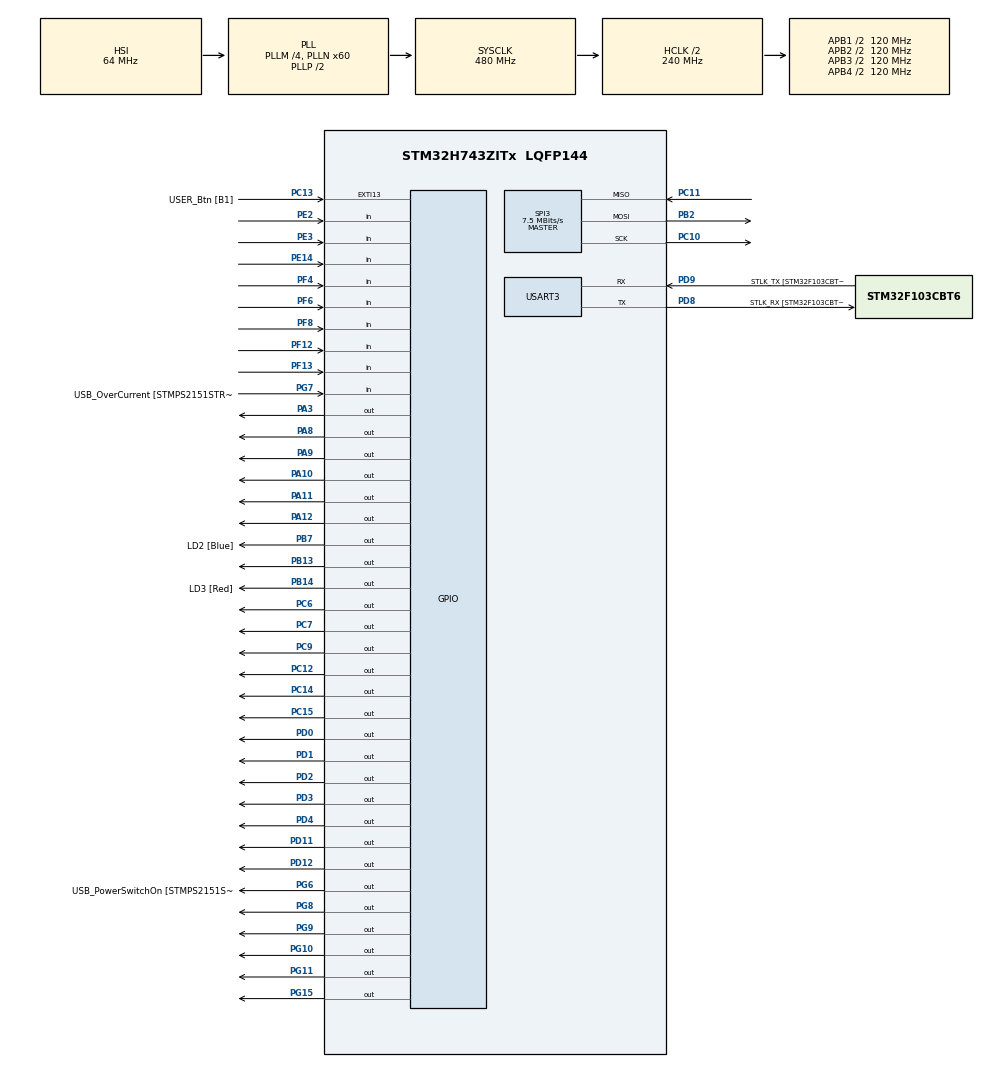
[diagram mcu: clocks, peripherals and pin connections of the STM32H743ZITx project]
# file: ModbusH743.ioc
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FATFS._USE_LFN=3
FREERTOS.Tasks01=defaultTask,24,128,StartDefaultTask,Default,NULL,Dynamic,NULL,NULL;SD_Card_Task,32,128,Start_SDcard_Task,Default,NULL,Dynamic,NULL,NULL;Teach_Motor_Tas,26,128,Start_Teach_Motor,Default,NULL,Dynamic,NULL,NULL;Call_Run_Task,25,128,Call_Run,Default,NULL,Dynamic,NULL,NULL
FREERTOS.configTICK_RATE_HZ=1000
FREERTOS.configUSE_NEWLIB_REENTRANT=1
Mcu.Family=STM32H7
Mcu.Name=STM32H743ZITx
Mcu.Package=LQFP144
NVIC.PriorityGroup=NVIC_PRIORITYGROUP_4
NVIC.TIM15_IRQn=true\:0\:0\:false\:false\:true\:false\:true\:true
NVIC.TIM16_IRQn=true\:0\:0\:false\:false\:true\:false\:true\:true
NVIC.TIM17_IRQn=true\:0\:0\:false\:false\:true\:false\:false\:true
NVIC.TIM4_IRQn=true\:0\:0\:false\:false\:true\:false\:true\:true
NVIC.TIM5_IRQn=true\:0\:0\:false\:false\:true\:false\:true\:true
NVIC.TIM8_TRG_COM_TIM14_IRQn=true\:0\:0\:false\:false\:true\:false\:true\:true
NVIC.TimeBase=TIM17_IRQn
NVIC.TimeBaseIP=TIM17
NVIC.USART3_IRQn=true\:5\:0\:true\:false\:true\:false\:true\:true
PA10.Signal=GPIO_Output
PA11.Signal=GPIO_Output
PA12.Signal=GPIO_Output
PA13\ (JTMS/SWDIO).Mode=Serial_Wire
PA13\ (JTMS/SWDIO).Signal=DEBUG_JTMS-SWDIO
PA14\ (JTCK/SWCLK).Mode=Serial_Wire
PA14\ (JTCK/SWCLK).Signal=DEBUG_JTCK-SWCLK
PA3.GPIO_PuPd=GPIO_PULLUP
PA3.PinState=GPIO_PIN_SET
PA3.Signal=GPIO_Output
PA8.Signal=GPIO_Output
PA9.Signal=GPIO_Output
PB13.Signal=GPIO_Output
PB14.GPIO_Label=LD3 [Red]
PB14.Signal=GPIO_Output
PB2.Mode=Full_Duplex_Master
PB2.Signal=SPI3_MOSI
PB7.GPIO_Label=LD2 [Blue]
PB7.Signal=GPIO_Output
PC10.Mode=Full_Duplex_Master
PC10.Signal=SPI3_SCK
PC11.Mode=Full_Duplex_Master
PC11.Signal=SPI3_MISO
PC12.Signal=GPIO_Output
PC13.GPIO_Label=USER_Btn [B1]
PC13.Signal=GPXTI13
PC14-OSC32_IN\ (OSC32_IN).GPIO_PuPd=GPIO_PULLUP
PC14-OSC32_IN\ (OSC32_IN).PinState=GPIO_PIN_SET
PC14-OSC32_IN\ (OSC32_IN).Signal=GPIO_Output
PC15-OSC32_OUT\ (OSC32_OUT).GPIO_PuPd=GPIO_PULLUP
PC15-OSC32_OUT\ (OSC32_OUT).PinState=GPIO_PIN_SET
PC15-OSC32_OUT\ (OSC32_OUT).Signal=GPIO_Output
PC6.Signal=GPIO_Output
PC7.Signal=GPIO_Output
PC9.Signal=GPIO_Output
PD0.Signal=GPIO_Output
PD1.Signal=GPIO_Output
PD11.GPIO_PuPd=GPIO_PULLUP
PD11.PinState=GPIO_PIN_RESET
PD11.Signal=GPIO_Output
PD12.GPIO_PuPd=GPIO_PULLUP
PD12.PinState=GPIO_PIN_RESET
PD12.Signal=GPIO_Output
PD2.Signal=GPIO_Output
PD3.Signal=GPIO_Output
PD4.Signal=GPIO_Output
PD8.GPIO_Label=STLK_RX [STM32F103CBT6_PA3]
PD8.Mode=Asynchronous
PD8.Signal=USART3_TX
PD9.GPIO_Label=STLK_TX [STM32F103CBT6_PA2]
PD9.Mode=Asynchronous
PD9.Signal=USART3_RX
PE14.Signal=GPIO_Input
PE2.GPIO_PuPd=GPIO_PULLUP
PE2.Signal=GPIO_Input
PE3.GPIO_PuPd=GPIO_PULLUP
PE3.Signal=GPIO_Input
PF12.Signal=GPIO_Input
PF13.Signal=GPIO_Input
PF4.Signal=GPIO_Input
PF6.Signal=GPIO_Input
PF8.Signal=GPIO_Input
PG10.Signal=GPIO_Output
PG11.Signal=GPIO_Output
PG15.Signal=GPIO_Output
PG6.GPIO_Label=USB_PowerSwitchOn [STMPS2151STR_EN]
PG6.Signal=GPIO_Output
PG7.GPIO_Label=USB_OverCurrent [STMPS2151STR_FAULT]
PG7.Signal=GPIO_Input
PG8.Signal=GPIO_Output
PG9.Signal=GPIO_Output
PH0-OSC_IN\ (PH0).GPIO_Label=MCO
PH0-OSC_IN\ (PH0).Signal=RCC_OSC_IN
PH1-OSC_OUT\ (PH1).Signal=RCC_OSC_OUT
ProjectManager.HeapSize=0x200
ProjectManager.StackSize=0x400
ProjectManager.TargetToolchain=STM32CubeIDE
RCC.48MHZClocksFreq_Value=24000000
RCC.ADCFreq_Value=129000000
RCC.AHBFreq_Value=216000000
RCC.APB1CLKDivider=RCC_HCLK_DIV4
RCC.APB1Freq_Value=120000000
RCC.APB1TimFreq_Value=108000000
RCC.APB2CLKDivider=RCC_HCLK_DIV2
RCC.APB2Freq_Value=120000000
RCC.APB2TimFreq_Value=216000000
RCC.APB3Freq_Value=120000000
RCC.APB4Freq_Value=120000000
RCC.CortexFreq_Value=480000000
RCC.D1PPRE=RCC_APB3_DIV2
RCC.D2PPRE1=RCC_APB1_DIV2
RCC.D2PPRE2=RCC_APB2_DIV2
RCC.D3PPRE=RCC_APB4_DIV2
RCC.DIVM1=4
RCC.DIVN1=60
RCC.HCLKFreq_Value=240000000
RCC.HPRE=RCC_HCLK_DIV2
RCC.HSE_VALUE=8000000
RCC.HSI_VALUE=64000000
RCC.PLL1_VCO_SEL-AdvancedSettings=RCC_PLL1VCOWIDE
RCC.PLL2FRACN=0
RCC.PLL3FRACN=0
RCC.PLLFRACN=0
RCC.PLLM=25
RCC.PLLMUL=RCC_PLL_MUL9
RCC.PLLN=432
RCC.PLLQ=9
RCC.PRESCALERUSB=RCC_USBCLKSOURCE_PLL_DIV1_5
RCC.PWR_Regulator_Voltage_Scale=PWR_REGULATOR_VOLTAGE_SCALE0
RCC.SYSCLKFreq_VALUE=480000000
RCC.SYSCLKSource=RCC_SYSCLKSOURCE_PLLCLK
RCC.SYSCLKSourceVirtual=RCC_SYSCLKSOURCE_PLLCLK
RCC.USBCLockSelection=RCC_USBCLKSOURCE_HSI48
RCC.USBFreq_Value=48000000
RCC.VCOOutputFreq_Value=432000000
SPI3.BaudRatePrescaler=SPI_BAUDRATEPRESCALER_64
SPI3.CalculateBaudRate=7.5 MBits/s
SPI3.DataSize=SPI_DATASIZE_8BIT
SPI3.Direction=SPI_DIRECTION_2LINES
SPI3.Mode=SPI_MODE_MASTER
SPI3.VirtualType=VM_MASTER
TIM14.Period=999
TIM14.Prescaler=239
TIM15.Period=999
TIM15.Prescaler=119
TIM16.Period=999
TIM16.Prescaler=23
TIM4.Period=9999
TIM4.Prescaler=239
TIM5.Period=9999
TIM5.Prescaler=239
USART3.VirtualMode-Asynchronous=VM_ASYNC
VP_FATFS_VS_Generic.Mode=User_defined
VP_FREERTOS_VS_CMSIS_V2.Mode=CMSIS_V2
VP_SYS_VS_tim17.Mode=TIM17
VP_TIM14_VS_ClockSourceINT.Mode=Enable_Timer
VP_TIM15_VS_ClockSourceINT.Mode=Internal
VP_TIM16_VS_ClockSourceINT.Mode=Enable_Timer
VP_TIM4_VS_ClockSourceINT.Mode=Internal
VP_TIM5_VS_ClockSourceINT.Mode=Internal
board=NUCLEO-H743ZI

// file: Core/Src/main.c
/* USER CODE BEGIN Header */
/**
  ******************************************************************************
  * @file           : main.c
  * @brief          : Main program body
  ******************************************************************************
  * @attention
  *
  * <h2><center>&copy; Copyright (c) 2020 STMicroelectronics.
  * All rights reserved.</center></h2>
  *
  * This software component is licensed by ST under BSD 3-Clause license,
  * the "License"; You may not use this file except in compliance with the
  * License. You may obtain a copy of the License at:
  *                        opensource.org/licenses/BSD-3-Clause
  *
  ******************************************************************************
  */
/* USER CODE END Header */
#include "main.h"
#include "cmsis_os.h"
#include "fatfs.h"
#include "spi.h"
#include "tim.h"
#include "usart.h"
#include "gpio.h"

/* USER CODE BEGIN Includes */
#include "fatfs_sd.h"
#include "string.h"
#include "stdio.h"
#include "stdlib.h"
#include "Modbus.h"
#include "Control_Step_Motor.h"
#include "Define.h"
#include "sub_Funct.h"
/* USER CODE END Includes */

/* USER CODE BEGIN PV */

modbusHandler_t ModbusH;
//uint16_t ModbusDATA[8];
uint16_t ModbusDATA[256];

uint32_t count = 0;
uint8_t test_step = 0;
uint8_t Bit_data0 = 0;
uint8_t Bit_data1 = 0;
uint8_t Bit_data2 = 0;
uint8_t Bit_data3 = 0;
uint8_t Bit_data4 = 0;
uint8_t Bit_data5 = 0;
uint8_t Bit_data6 = 0;
uint8_t Bit_data7 = 0;
uint8_t Bit_data8 = 0;
uint8_t Bit_data9 = 0;
uint8_t Bit_data10 = 0;
uint8_t Bit_data11 = 0;
uint8_t Bit_data12 = 0;
uint8_t Bit_data13 = 0;
uint8_t Bit_data14 = 0;
uint8_t Bit_data15 = 0;
uint8_t Bit_data16 = 0;
uint8_t Bit_data17 = 0;
uint8_t Bit_data18 = 0;
uint8_t Bit_data19 = 0;
uint8_t Bit_data20 = 0;
uint8_t Bit_data21 = 0;
uint8_t Bit_data22 = 0;
uint8_t Bit_data23 = 0;
uint8_t BT_Start_Stage = 0;
//uint32_t milisec = 0;
uint32_t bien_Count = 0;

/*------ Teaching by jog funct variable ------*/

/* USER CODE END PV */

void SystemClock_Config(void);
void MX_FREERTOS_Init(void);
/* USER CODE BEGIN PFP */
void StartDefaultTask(void *argument)
{
  /* USER CODE BEGIN StartDefaultTask */
  /* Infinite loop */
  for(;;)
  {
	  mHandlers[0]->u8Buffer[3] = HAL_GPIO_ReadPin(GPIOF, GPIO_PIN_12);
	  Bit_data0 = mHandlers[0]->xBufferRX.uxBuffer[0];
	  Bit_data1 = mHandlers[0]->xBufferRX.uxBuffer[1];
	  Bit_data2 = mHandlers[0]->xBufferRX.uxBuffer[2];
	  Bit_data3 = mHandlers[0]->xBufferRX.uxBuffer[3];
	  Bit_data4 = mHandlers[0]->xBufferRX.uxBuffer[4];
	  Bit_data5 = mHandlers[0]->xBufferRX.uxBuffer[5];
	  Bit_data6 = mHandlers[0]->xBufferRX.uxBuffer[6];
	  Bit_data7 = mHandlers[0]->xBufferRX.uxBuffer[7];

	  Bit_data8 = mHandlers[0]->xBufferRX.uxBuffer[8];
	  Bit_data9 = mHandlers[0]->xBufferRX.uxBuffer[9];
	  Bit_data10 = mHandlers[0]->xBufferRX.uxBuffer[10];
	  Bit_data11 = mHandlers[0]->xBufferRX.uxBuffer[11];
	  Bit_data12 = mHandlers[0]->xBufferRX.uxBuffer[12];
	  Bit_data13 = mHandlers[0]->xBufferRX.uxBuffer[13];
	  Bit_data14 = mHandlers[0]->xBufferRX.uxBuffer[14];
	  Bit_data15 = mHandlers[0]->xBufferRX.uxBuffer[15];

	  Bit_data16 = mHandlers[0]->xBufferRX.uxBuffer[16];
	  Bit_data17 = mHandlers[0]->xBufferRX.uxBuffer[17];
	  Bit_data18 = mHandlers[0]->xBufferRX.uxBuffer[18];
	  Bit_data19 = mHandlers[0]->xBufferRX.uxBuffer[19];
	  Bit_data20 = mHandlers[0]->xBufferRX.uxBuffer[20];
	  Bit_data21 = mHandlers[0]->xBufferRX.uxBuffer[21];
	  Bit_data22 = mHandlers[0]->xBufferRX.uxBuffer[22];
	  Bit_data23 = mHandlers[0]->xBufferRX.uxBuffer[23];
	  bien_Count++;

/*	  if(Main_process == 1)
	  {
		  fresult = f_mount(&fs,"",1);
		  fresult = f_open(&myfile,"DUC.txt",FA_CREATE_ALWAYS|FA_WRITE);
		  f_printf(&myfile,SD_Coordinates);
		  f_close(&myfile);
		  f_sync(&myfile);
		  Main_process = 0;
	  }*/
      osDelay(1);
  }
  /* USER CODE END StartDefaultTask */
}
void Start_SDcard_Task(void *argument)
{
  /* USER CODE BEGIN StartTask02 */
  /* Infinite loop */
  for(;;)
  {
/*	  count++;
	  if(count == 10000)
	  {
		  fresult = f_mount(&fs,"",1);											// Ket noi voi the nho
		  fresult = f_open(&myfile,"RTOSTUOILOZ.txt",FA_CREATE_ALWAYS|FA_WRITE); // Mo file
		  f_printf(&myfile,"dmchanvl");
		  f_close(&myfile);														// Dong the nho
		  f_sync(&myfile);
	  }*/
	  switch(Main_process)
	  {
		  case 1:
		  {
			  if(Pos_Index == 0)
			  {
				  fresult = f_mount(&fs,"",1);
				  fresult = f_open(&myfile,"No1.txt",FA_CREATE_ALWAYS|FA_WRITE);
				  f_printf(&myfile,SD_Coordinates);
				  f_close(&myfile);
				  f_sync(&myfile);
				  Main_process = 0;
				  Teach_Point_Count++;
			  }
			  else if(Pos_Index >= 1)
			  {
				  fresult = f_mount(&fs,"",1);
				  fresult = f_open(&myfile,"No1.txt",FA_CREATE_ALWAYS|FA_WRITE);
				  Main_Coor_count = Main_Coor_count + Temp_Coor_count;
				  fresult = f_lseek(&myfile,Main_Coor_count);
				  f_printf(&myfile,SD_Coordinates);
				  f_close(&myfile);
				  f_sync(&myfile);
				  Main_process = 0;
				  Teach_Point_Count++;
			  }
			  for(uint8_t i = 0;i<150;i++)
			  {
				  if(SD_Coordinates[i] == 0x00)
				  {
					  Temp_Coor_count = i;
					  break;
				  }
			  }
			  for(uint8_t i = 0;i<150;i++)
			  {
				  SD_Coordinates[i] = 0;
			  }
			 break;
		  }
		  case 2:
		  {
			  switch(Run_File_No)
			  {
				  case 1:
				  {
					  fresult = f_mount(&fs,"",1);
					  fresult = f_open(&myfile,"No1.txt",FA_READ);
					  fresult = f_read(&myfile,SD_All_Point,f_size(&myfile),(UINT*)&br);
					  f_close(&myfile);
					  f_sync(&myfile);
					  Main_process = 0xFF;
					  break;
				  }
				  case 2:
				  {
					  fresult = f_mount(&fs,"",1);
					  fresult = f_open(&myfile,"No2.txt",FA_READ);
					  fresult = f_read(&myfile,SD_All_Point,f_size(&myfile),(UINT*)&br);
					  f_close(&myfile);
					  f_sync(&myfile);
					  Main_process = 0xFF;
					  break;
				  }
			  }
			  break;
		  }
	  }
    osDelay(1);
  }
  /* USER CODE END StartTask02 */
}
void Start_Teach_Motor(void *argument)
{
  /* USER CODE BEGIN StartTask03 */
  /* Infinite loop */
  for(;;)
  {
	  switch(Teach_Move_Process)
	  {
	  	  case 1:
	  	  {
			  if(Busy_Flag_XYZ == 0 && Origin_Flag == 0 )
			  {
				  Move_XYZ_ABC(Teach_X_Axis_Value/2, Teach_Y_Axis_Value/2,Teach_Z_Axis_Value/2,Teach_A_Axis_Value/2,Teach_B_Axis_Value/2,Teach_C_Axis_Value/2,Teach_Velocity_Value,5);
				  Teach_Move_Process = 2;
			  }
	  		  break;
	  	  }
	  	  case 2:
	  	  {
	  		  if(Busy_Flag_XYZ == 0)
	  		  {
				  Teach_Move_Process = 0xFF;
	  		  }
	  		  break;
	  	  }
	  	  case 3:
	  	  {
	  		  if(Busy_Flag_XYZ == 0)
	  		  {
				  Origin_Motor();
				  Teach_Move_Process = 4;
	  		  }
	  		  break;
	  	  }
	  	  case 4:
	  	  {
	  		  if(Origin_Flag == 0)
	  		  {
	  			  reset_Value();
	  		  }
	  		  break;
	  	  }
	  	  default:
	  	  {
	  		  break;
	  	  }
	  }
    osDelay(1);
  }
  /* USER CODE END StartTask03 */
}

void Call_Run(void *argument)
{
  /* USER CODE BEGIN Call_Run */
  /* Infinite loop */
  for(;;)
  {
	  switch(run_Process)
	  {
		  case 1:
		  {
			  count_Total_Point();
			  run_Process = 2;
			  break;
		  }
		  case 2:
		  {
			  sd_Data_Handle();
			  output_Display();
			  run_Process = 3;
			  break;
		  }
		  case 3:
		  {
			  if(Busy_Flag_XYZ == 0 && Origin_Flag == 0 )
			  {
				  Move_XYZ_ABC(run_PosX/2, run_PosY/2,run_PosZ/2,run_PosA/2,run_PosB/2,run_PosC/2,run_Speed,5);
				  run_Process = 4;
			  }
			  break;
		  }
		  case 4:
		  {
	  		  if(Busy_Flag_XYZ == 0)
	  		  {
	  			temp_ID = 0;
	  			temp_Speed = 0;
				temp_PosX = 0;
				temp_PosY = 0;
				temp_PosZ = 0;
				temp_PosA = 0;
				temp_PosB = 0;
				temp_PosC = 0;
				run_ID = 0;
				run_Speed = 0;
				run_PosX = 0;
				run_PosY = 0;
				run_PosZ = 0;
				run_PosA = 0;
				run_PosB = 0;
				run_PosC = 0;
				for(uint8_t i = 0;i<20;i++)
				{
					data_ID[i] = 0x00;
					data_Speed[i] = 0x00;
					data_PosX[i]   = 0x00;
					data_PosY[i]   = 0x00;
					data_PosZ[i]   = 0x00;
					data_PosA[i]   = 0x00;
					data_PosB[i]   = 0x00;
					data_PosC[i]   = 0x00;
				}
				for(uint8_t i=0;i<50;i++)
				{
					data_Output[i] = 0x00;
				}
				for(uint8_t i =0;i<200;i++)
				{
					move_Data_Buffer[i] = 0x00;
				}
	  			run_Point_Count++;
	  			run_Process = 5;
	  			current_Millis = milisec;
	  			if(run_Point_Count >= run_Pos_Index)
	  			{
		  			run_Process = 0xFF;
	  			}
	  		  }
			  break;
		  }
		  case 5:
		  {
			  if((milisec - current_Millis) >= 2000)
			  {

		  			run_Process = 1;
			  }
			  break;
		  }
		  default:
		  {
			  break;
		  }
	  }
    osDelay(1);
  }
  /* USER CODE END Call_Run */
}
/* USER CODE END PFP */

/* USER CODE BEGIN 0 */
/*modbusHandler_t ModbusH;
//uint16_t ModbusDATA[8];
uint16_t ModbusDATA[256];*/
/* USER CODE END 0 */

int main(void)
{

  /* MCU Configuration--------------------------------------------------------*/

  /* Reset of all peripherals, Initializes the Flash interface and the Systick. */
  HAL_Init();

  /* Configure the system clock */
  SystemClock_Config();

  /* Initialize all configured peripherals */
  MX_GPIO_Init();
  MX_USART3_UART_Init();
  MX_SPI3_Init();
  MX_FATFS_Init();
  MX_TIM4_Init();
  MX_TIM5_Init();
  MX_TIM15_Init();
  MX_TIM16_Init();
  MX_TIM14_Init();
  /* USER CODE BEGIN 2 */

//  while(HAL_GPIO_ReadPin(GPIOF,GPIO_PIN_12) && HAL_GPIO_ReadPin(GPIOF,GPIO_PIN_13));

//  Motor_Init();
//  Origin_Motor();
//  while(Origin_Flag);
/*  Origin_Motor_A();
  while(Busy_Flag_Origin_AB);*/

  HAL_Delay(200);
	HAL_TIM_Base_Start_IT(&htim14);
  /* Modbus Slave initialization */
        ModbusH.uModbusType = MB_SLAVE;
        ModbusH.port =  &huart3; // This is the UART port connected to STLINK in the NUCLEO F429
        ModbusH.u8id = 1; //slave ID
        ModbusH.u16timeOut = 1000;
        ModbusH.EN_Port = NULL; // No RS485
//         ModbusH.EN_Port = LD2_GPIO_Port; // RS485 Enable
//         ModbusH.EN_Pin = LD2_Pin; // RS485 Enable
/*
         ModbusH2.EN_Port = LD2_GPIO_Port; // RS485 Enable
         ModbusH2.EN_Pin = LD2_Pin; // RS485 Enable
*/
        ModbusH.u16regs = ModbusDATA;
        ModbusH.u16regsize= sizeof(ModbusDATA)/sizeof(ModbusDATA[0]);
        ModbusH.xTypeHW = USART_HW;
         //Initialize Modbus library
        ModbusInit(&ModbusH);
        //Start capturing traffic on serial Port
        ModbusStart(&ModbusH);
  /* USER CODE END 2 */

  /* Init scheduler */
  osKernelInitialize();  /* Call init function for freertos objects (in freertos.c) */
  MX_FREERTOS_Init();
  /* Start scheduler */
  osKernelStart();

  /* We should never get here as control is now taken by the scheduler */
  /* Infinite loop */
  while (1)
  {

  }
}

void SystemClock_Config(void)
{
  RCC_OscInitTypeDef RCC_OscInitStruct = {0};
  RCC_ClkInitTypeDef RCC_ClkInitStruct = {0};
  RCC_PeriphCLKInitTypeDef PeriphClkInitStruct = {0};

  /** Supply configuration update enable
  */
  HAL_PWREx_ConfigSupply(PWR_LDO_SUPPLY);
  /** Configure the main internal regulator output voltage
  */
  __HAL_PWR_VOLTAGESCALING_CONFIG(PWR_REGULATOR_VOLTAGE_SCALE0);

  while(!__HAL_PWR_GET_FLAG(PWR_FLAG_VOSRDY)) {}
  /** Initializes the RCC Oscillators according to the specified parameters
  * in the RCC_OscInitTypeDef structure.
  */
  RCC_OscInitStruct.OscillatorType = RCC_OSCILLATORTYPE_HSI;
  RCC_OscInitStruct.HSIState = RCC_HSI_DIV1;
  RCC_OscInitStruct.HSICalibrationValue = RCC_HSICALIBRATION_DEFAULT;
  RCC_OscInitStruct.PLL.PLLState = RCC_PLL_ON;
  RCC_OscInitStruct.PLL.PLLSource = RCC_PLLSOURCE_HSI;
  RCC_OscInitStruct.PLL.PLLM = 4;
  RCC_OscInitStruct.PLL.PLLN = 60;
  RCC_OscInitStruct.PLL.PLLP = 2;
  RCC_OscInitStruct.PLL.PLLQ = 2;
  RCC_OscInitStruct.PLL.PLLR = 2;
  RCC_OscInitStruct.PLL.PLLRGE = RCC_PLL1VCIRANGE_3;
  RCC_OscInitStruct.PLL.PLLVCOSEL = RCC_PLL1VCOWIDE;
  RCC_OscInitStruct.PLL.PLLFRACN = 0;
  if (HAL_RCC_OscConfig(&RCC_OscInitStruct) != HAL_OK)
  {
    Error_Handler();
  }
  /** Initializes the CPU, AHB and APB buses clocks
  */
  RCC_ClkInitStruct.ClockType = RCC_CLOCKTYPE_HCLK|RCC_CLOCKTYPE_SYSCLK
                              |RCC_CLOCKTYPE_PCLK1|RCC_CLOCKTYPE_PCLK2
                              |RCC_CLOCKTYPE_D3PCLK1|RCC_CLOCKTYPE_D1PCLK1;
  RCC_ClkInitStruct.SYSCLKSource = RCC_SYSCLKSOURCE_PLLCLK;
  RCC_ClkInitStruct.SYSCLKDivider = RCC_SYSCLK_DIV1;
  RCC_ClkInitStruct.AHBCLKDivider = RCC_HCLK_DIV2;
  RCC_ClkInitStruct.APB3CLKDivider = RCC_APB3_DIV2;
  RCC_ClkInitStruct.APB1CLKDivider = RCC_APB1_DIV2;
  RCC_ClkInitStruct.APB2CLKDivider = RCC_APB2_DIV2;
  RCC_ClkInitStruct.APB4CLKDivider = RCC_APB4_DIV2;

  if (HAL_RCC_ClockConfig(&RCC_ClkInitStruct, FLASH_LATENCY_4) != HAL_OK)
  {
    Error_Handler();
  }
  PeriphClkInitStruct.PeriphClockSelection = RCC_PERIPHCLK_USART3|RCC_PERIPHCLK_SPI3;
  PeriphClkInitStruct.Spi123ClockSelection = RCC_SPI123CLKSOURCE_PLL;
  PeriphClkInitStruct.Usart234578ClockSelection = RCC_USART234578CLKSOURCE_D2PCLK1;
  if (HAL_RCCEx_PeriphCLKConfig(&PeriphClkInitStruct) != HAL_OK)
  {
    Error_Handler();
  }
}

/* USER CODE BEGIN 4 */
void TIM16_IRQHandler(void)
{
  /* USER CODE BEGIN TIM16_IRQn 0 */

	switch(JogX_Busy_Flag)
	{
		case 0:
		{
			break;
		}
		case 1:
		{
			HAL_GPIO_TogglePin(MotorX_PUL);
			Teach_X_Axis_Value++;
			Current_PosX = Teach_X_Axis_Value / 2;
			if(Teach_X_Axis_Value >= 60000)
			{
				HAL_TIM_Base_Stop_IT(&htim16);
			}
			break;
		}
		case 2:
		{
			if(HAL_GPIO_ReadPin(SensorX) == 0)
			{
				HAL_GPIO_TogglePin(MotorX_PUL);
				Teach_X_Axis_Value--;
				Current_PosX = Teach_X_Axis_Value / 2;
				JogX_Busy_Flag = 3;
				break;
			}
			break;
		}
		case 3:
		{
			if(HAL_GPIO_ReadPin(SensorX) == 1)
			{
				Teach_X_Axis_Value = 0;
				Current_PosX = 0;
				HAL_TIM_Base_Stop_IT(&htim16);
			}
			else
			{
				JogX_Busy_Flag = 2;
			}
			break;
		}
		default :
		{
			break;
		}
	}
	switch(JogY_Busy_Flag)
	{
		case 0:
		{
			break;
		}
		case 1:
		{
			HAL_GPIO_TogglePin(MotorY_PUL);
			Teach_Y_Axis_Value++;
			Current_PosY = Teach_Y_Axis_Value / 2;
			if(Teach_Y_Axis_Value >= 60000)
			{
				HAL_TIM_Base_Stop_IT(&htim16);
			}
			break;
		}
		case 2:
		{
			if(HAL_GPIO_ReadPin(SensorY) == 0)
			{
				HAL_GPIO_TogglePin(MotorY_PUL);
				Teach_Y_Axis_Value--;
				Current_PosY = Teach_Y_Axis_Value / 2;
				JogY_Busy_Flag = 3;
				break;
			}
			break;
		}
		case 3:
		{
			if(HAL_GPIO_ReadPin(SensorY) == 1)
			{
				Teach_Y_Axis_Value = 0;
				Current_PosY = 0;
				HAL_TIM_Base_Stop_IT(&htim16);
			}
			else
			{
				JogY_Busy_Flag = 2;
			}
			break;
		}
		default :
		{
			break;
		}
	}
	switch(JogZ_Busy_Flag)
	{
		case 0:
		{
			break;
		}
		case 1:
		{
			if(HAL_GPIO_ReadPin(SensorZ) == 0)
			{
				HAL_GPIO_TogglePin(MotorZ_PUL);
				Teach_Z_Axis_Value--;
				Current_PosZ = Teach_Z_Axis_Value / 2;
				if(Teach_Z_Axis_Value == 0)
				{
					HAL_TIM_Base_Stop_IT(&htim16);
				}
				break;
			}
			break;
		}
		case 2:
		{
			if(Teach_Z_Axis_Value >= 0 && Teach_Z_Axis_Value <= 40000 )
			{
				HAL_GPIO_TogglePin(MotorZ_PUL);
				Teach_Z_Axis_Value;
				Current_PosZ = Teach_Z_Axis_Value / 2;
			}
			else if(JogZ_Axis_Count > 40000)
			{
				HAL_TIM_Base_Stop_IT(&htim16);
			}
			break;
		}
		case 3:
		{
			if(HAL_GPIO_ReadPin(SensorZ) == 1)
			{
				Teach_Z_Axis_Value = 0;
				Current_PosZ = 0;
				HAL_TIM_Base_Stop_IT(&htim16);
			}
			else
			{
				JogZ_Busy_Flag = 1;
			}
			break;
		}
		default :
		{
			break;
		}
	}

  /* USER CODE END TIM16_IRQn 0 */
  HAL_TIM_IRQHandler(&htim16);
  /* USER CODE BEGIN TIM16_IRQn 1 */

  /* USER CODE END TIM16_IRQn 1 */
}

void TIM8_TRG_COM_TIM14_IRQHandler(void)
{
  /* USER CODE BEGIN TIM8_TRG_COM_TIM14_IRQn 0 */
	milisec++;
  /* USER CODE END TIM8_TRG_COM_TIM14_IRQn 0 */
  HAL_TIM_IRQHandler(&htim14);
  /* USER CODE BEGIN TIM8_TRG_COM_TIM14_IRQn 1 */

  /* USER CODE END TIM8_TRG_COM_TIM14_IRQn 1 */
}
/* USER CODE END 4 */

void HAL_TIM_PeriodElapsedCallback(TIM_HandleTypeDef *htim)
{
  if (htim->Instance == TIM17) {
    HAL_IncTick();
  }
}

void Error_Handler(void)
{
}

/************************ (C) COPYRIGHT STMicroelectronics *****END OF FILE****/

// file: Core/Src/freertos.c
/* USER CODE BEGIN Header */
/**
  ******************************************************************************
  * File Name          : freertos.c
  * Description        : Code for freertos applications
  ******************************************************************************
  * @attention
  *
  * <h2><center>&copy; Copyright (c) 2021 STMicroelectronics.
  * All rights reserved.</center></h2>
  *
  * This software component is licensed by ST under Ultimate Liberty license
  * SLA0044, the "License"; You may not use this file except in compliance with
  * the License. You may obtain a copy of the License at:
  *                             www.st.com/SLA0044
  *
  ******************************************************************************
  */
/* USER CODE END Header */

#include "FreeRTOS.h"
#include "task.h"
#include "main.h"
#include "cmsis_os.h"

/* Definitions for defaultTask */
osThreadId_t defaultTaskHandle;
const osThreadAttr_t defaultTask_attributes = {
  .name = "defaultTask",
  .priority = (osPriority_t) osPriorityNormal,
  .stack_size = 128 * 4
};
/* Definitions for SD_Card_Task */
osThreadId_t SD_Card_TaskHandle;
const osThreadAttr_t SD_Card_Task_attributes = {
  .name = "SD_Card_Task",
  .priority = (osPriority_t) osPriorityAboveNormal,
  .stack_size = 128 * 4
};
/* Definitions for Teach_Motor_Tas */
osThreadId_t Teach_Motor_TasHandle;
const osThreadAttr_t Teach_Motor_Tas_attributes = {
  .name = "Teach_Motor_Tas",
  .priority = (osPriority_t) osPriorityNormal2,
  .stack_size = 128 * 4
};
/* Definitions for Call_Run_Task */
osThreadId_t Call_Run_TaskHandle;
const osThreadAttr_t Call_Run_Task_attributes = {
  .name = "Call_Run_Task",
  .priority = (osPriority_t) osPriorityNormal1,
  .stack_size = 128 * 4
};

void StartDefaultTask(void *argument);
void Start_SDcard_Task(void *argument);
void Start_Teach_Motor(void *argument);
void Call_Run(void *argument);

void MX_FREERTOS_Init(void); /* (MISRA C 2004 rule 8.1) */

void MX_FREERTOS_Init(void) {

  /* Create the thread(s) */
  /* creation of defaultTask */
  defaultTaskHandle = osThreadNew(StartDefaultTask, NULL, &defaultTask_attributes);

  /* creation of SD_Card_Task */
  SD_Card_TaskHandle = osThreadNew(Start_SDcard_Task, NULL, &SD_Card_Task_attributes);

  /* creation of Teach_Motor_Tas */
  Teach_Motor_TasHandle = osThreadNew(Start_Teach_Motor, NULL, &Teach_Motor_Tas_attributes);

  /* creation of Call_Run_Task */
  Call_Run_TaskHandle = osThreadNew(Call_Run, NULL, &Call_Run_Task_attributes);

}

/************************ (C) COPYRIGHT STMicroelectronics *****END OF FILE****/
